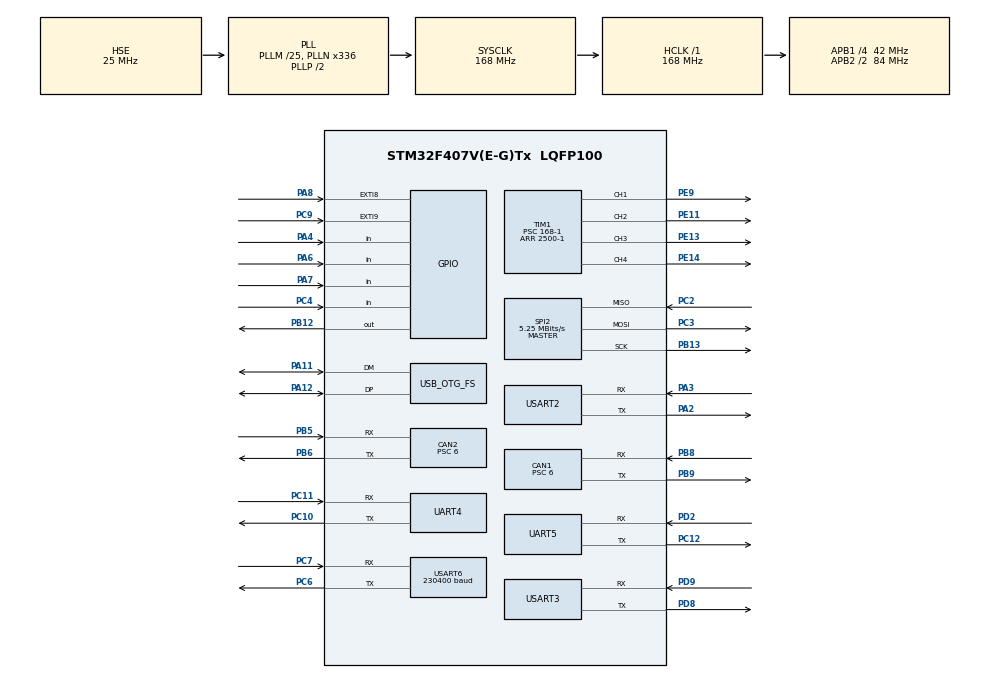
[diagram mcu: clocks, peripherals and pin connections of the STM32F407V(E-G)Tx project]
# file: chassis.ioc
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CAN1.BS1=CAN_BS1_3TQ
CAN1.BS2=CAN_BS2_3TQ
CAN1.CalculateBaudRate=1000000
CAN1.CalculateTimeBit=1000
CAN1.CalculateTimeQuantum=142.85714285714286
CAN1.Prescaler=6
CAN2.BS1=CAN_BS1_3TQ
CAN2.BS2=CAN_BS2_3TQ
CAN2.CalculateBaudRate=1000000
CAN2.CalculateTimeBit=1000
CAN2.CalculateTimeQuantum=142.85714285714286
CAN2.Mode=CAN_MODE_NORMAL
CAN2.Prescaler=6
Dma.Request0=UART4_RX
Dma.Request1=USART6_RX
Dma.Request2=USART2_RX
Dma.Request3=UART5_RX
Dma.Request4=UART4_TX
Dma.UART4_RX.0.Direction=DMA_PERIPH_TO_MEMORY
Dma.UART4_RX.0.FIFOMode=DMA_FIFOMODE_DISABLE
Dma.UART4_RX.0.Instance=DMA1_Stream2
Dma.UART4_RX.0.MemDataAlignment=DMA_MDATAALIGN_BYTE
Dma.UART4_RX.0.MemInc=DMA_MINC_ENABLE
Dma.UART4_RX.0.Mode=DMA_NORMAL
Dma.UART4_RX.0.PeriphDataAlignment=DMA_PDATAALIGN_BYTE
Dma.UART4_RX.0.PeriphInc=DMA_PINC_DISABLE
Dma.UART4_RX.0.Priority=DMA_PRIORITY_LOW
Dma.UART4_TX.4.Direction=DMA_MEMORY_TO_PERIPH
Dma.UART4_TX.4.FIFOMode=DMA_FIFOMODE_DISABLE
Dma.UART4_TX.4.Instance=DMA1_Stream4
Dma.UART4_TX.4.MemDataAlignment=DMA_MDATAALIGN_BYTE
Dma.UART4_TX.4.MemInc=DMA_MINC_ENABLE
Dma.UART4_TX.4.Mode=DMA_NORMAL
Dma.UART4_TX.4.PeriphDataAlignment=DMA_PDATAALIGN_BYTE
Dma.UART4_TX.4.PeriphInc=DMA_PINC_DISABLE
Dma.UART4_TX.4.Priority=DMA_PRIORITY_LOW
Dma.UART5_RX.3.Direction=DMA_PERIPH_TO_MEMORY
Dma.UART5_RX.3.FIFOMode=DMA_FIFOMODE_DISABLE
Dma.UART5_RX.3.Instance=DMA1_Stream0
Dma.UART5_RX.3.MemDataAlignment=DMA_MDATAALIGN_BYTE
Dma.UART5_RX.3.MemInc=DMA_MINC_ENABLE
Dma.UART5_RX.3.Mode=DMA_NORMAL
Dma.UART5_RX.3.PeriphDataAlignment=DMA_PDATAALIGN_BYTE
Dma.UART5_RX.3.PeriphInc=DMA_PINC_DISABLE
Dma.UART5_RX.3.Priority=DMA_PRIORITY_LOW
Dma.USART2_RX.2.Direction=DMA_PERIPH_TO_MEMORY
Dma.USART2_RX.2.FIFOMode=DMA_FIFOMODE_DISABLE
Dma.USART2_RX.2.Instance=DMA1_Stream5
Dma.USART2_RX.2.MemDataAlignment=DMA_MDATAALIGN_BYTE
Dma.USART2_RX.2.MemInc=DMA_MINC_ENABLE
Dma.USART2_RX.2.Mode=DMA_NORMAL
Dma.USART2_RX.2.PeriphDataAlignment=DMA_PDATAALIGN_BYTE
Dma.USART2_RX.2.PeriphInc=DMA_PINC_DISABLE
Dma.USART2_RX.2.Priority=DMA_PRIORITY_LOW
Dma.USART6_RX.1.Direction=DMA_PERIPH_TO_MEMORY
Dma.USART6_RX.1.FIFOMode=DMA_FIFOMODE_DISABLE
Dma.USART6_RX.1.Instance=DMA2_Stream1
Dma.USART6_RX.1.MemDataAlignment=DMA_MDATAALIGN_BYTE
Dma.USART6_RX.1.MemInc=DMA_MINC_ENABLE
Dma.USART6_RX.1.Mode=DMA_CIRCULAR
Dma.USART6_RX.1.PeriphDataAlignment=DMA_PDATAALIGN_BYTE
Dma.USART6_RX.1.PeriphInc=DMA_PINC_DISABLE
Dma.USART6_RX.1.Priority=DMA_PRIORITY_LOW
FREERTOS.INCLUDE_uxTaskGetStackHighWaterMark=1
FREERTOS.INCLUDE_vTaskDelayUntil=1
FREERTOS.Tasks01=defaultTask,0,128,StartDefaultTask,Default,NULL,Dynamic,NULL,NULL
FREERTOS.configUSE_TIMERS=1
Mcu.Family=STM32F4
Mcu.Name=STM32F407V(E-G)Tx
Mcu.Package=LQFP100
NVIC.CAN1_RX0_IRQn=true\:5\:0\:false\:false\:true\:true\:true\:true\:true
NVIC.CAN1_TX_IRQn=true\:5\:0\:false\:false\:true\:true\:true\:true\:true
NVIC.CAN2_RX1_IRQn=true\:5\:0\:false\:false\:true\:true\:true\:true\:true
NVIC.CAN2_TX_IRQn=true\:5\:0\:false\:false\:true\:true\:true\:true\:true
NVIC.DMA1_Stream0_IRQn=true\:5\:0\:false\:false\:true\:true\:false\:true\:true
NVIC.DMA1_Stream2_IRQn=true\:5\:0\:false\:false\:true\:true\:false\:true\:true
NVIC.DMA1_Stream4_IRQn=true\:5\:0\:false\:false\:true\:true\:false\:true\:true
NVIC.DMA1_Stream5_IRQn=true\:5\:0\:false\:false\:true\:true\:false\:true\:true
NVIC.DMA2_Stream1_IRQn=true\:5\:0\:false\:false\:true\:true\:false\:true\:true
NVIC.EXTI9_5_IRQn=true\:5\:0\:false\:false\:true\:true\:true\:true\:true
NVIC.OTG_FS_IRQn=true\:5\:0\:false\:false\:true\:true\:false\:true\:true
NVIC.PriorityGroup=NVIC_PRIORITYGROUP_4
NVIC.SPI2_IRQn=true\:5\:0\:false\:false\:true\:true\:true\:true\:true
NVIC.TIM7_IRQn=true\:5\:0\:false\:false\:true\:true\:true\:true\:true
NVIC.TIM8_TRG_COM_TIM14_IRQn=true\:15\:0\:false\:false\:true\:false\:true\:true\:true
NVIC.TimeBase=TIM8_TRG_COM_TIM14_IRQn
NVIC.TimeBaseIP=TIM14
NVIC.UART4_IRQn=true\:5\:0\:false\:false\:true\:true\:true\:true\:true
NVIC.UART5_IRQn=true\:5\:0\:false\:false\:true\:true\:true\:true\:true
NVIC.USART6_IRQn=true\:5\:0\:false\:false\:true\:true\:true\:true\:true
PA11.Mode=Device_Only
PA11.Signal=USB_OTG_FS_DM
PA12.Mode=Device_Only
PA12.Signal=USB_OTG_FS_DP
PA13.Mode=Serial_Wire
PA13.Signal=SYS_JTMS-SWDIO
PA14.Mode=Serial_Wire
PA14.Signal=SYS_JTCK-SWCLK
PA2.Mode=Asynchronous
PA2.Signal=USART2_TX
PA3.Mode=Asynchronous
PA3.Signal=USART2_RX
PA4.GPIO_PuPd=GPIO_PULLDOWN
PA4.Signal=GPIO_Input
PA6.GPIO_PuPd=GPIO_PULLDOWN
PA6.Signal=GPIO_Input
PA7.GPIO_PuPd=GPIO_PULLDOWN
PA7.Signal=GPIO_Input
PA8.GPIO_ModeDefaultEXTI=GPIO_MODE_IT_RISING_FALLING
PA8.GPIO_PuPd=GPIO_PULLDOWN
PA8.Signal=GPXTI8
PB12.GPIO_Speed=GPIO_SPEED_FREQ_HIGH
PB12.PinState=GPIO_PIN_SET
PB12.Signal=GPIO_Output
PB13.Mode=Full_Duplex_Master
PB13.Signal=SPI2_SCK
PB5.Mode=CAN_Activate
PB5.Signal=CAN2_RX
PB6.Mode=CAN_Activate
PB6.Signal=CAN2_TX
PB8.Mode=CAN_Activate
PB8.Signal=CAN1_RX
PB9.Mode=CAN_Activate
PB9.Signal=CAN1_TX
PC10.Mode=Asynchronous
PC10.Signal=UART4_TX
PC11.Mode=Asynchronous
PC11.Signal=UART4_RX
PC12.Mode=Asynchronous
PC12.Signal=UART5_TX
PC2.Mode=Full_Duplex_Master
PC2.Signal=SPI2_MISO
PC3.Mode=Full_Duplex_Master
PC3.Signal=SPI2_MOSI
PC4.GPIO_PuPd=GPIO_PULLDOWN
PC4.Signal=GPIO_Input
PC6.Mode=Asynchronous
PC6.Signal=USART6_TX
PC7.Mode=Asynchronous
PC7.Signal=USART6_RX
PC9.GPIO_ModeDefaultEXTI=GPIO_MODE_IT_RISING_FALLING
PC9.GPIO_PuPd=GPIO_PULLDOWN
PC9.Signal=GPXTI9
PD2.Mode=Asynchronous
PD2.Signal=UART5_RX
PD8.Mode=Asynchronous
PD8.Signal=USART3_TX
PD9.Mode=Asynchronous
PD9.Signal=USART3_RX
PE11.Signal=S_TIM1_CH2
PE13.Signal=S_TIM1_CH3
PE14.Signal=S_TIM1_CH4
PE9.Signal=S_TIM1_CH1
PH0-OSC_IN.Mode=HSE-External-Oscillator
PH0-OSC_IN.Signal=RCC_OSC_IN
PH1-OSC_OUT.Mode=HSE-External-Oscillator
PH1-OSC_OUT.Signal=RCC_OSC_OUT
ProjectManager.HeapSize=0x200
ProjectManager.StackSize=0x400
ProjectManager.TargetToolchain=MDK-ARM V5
RCC.48MHZClocksFreq_Value=48000000
RCC.AHBFreq_Value=168000000
RCC.APB1CLKDivider=RCC_HCLK_DIV4
RCC.APB1Freq_Value=42000000
RCC.APB1TimFreq_Value=84000000
RCC.APB2CLKDivider=RCC_HCLK_DIV2
RCC.APB2Freq_Value=84000000
RCC.APB2TimFreq_Value=168000000
RCC.CortexFreq_Value=168000000
RCC.HCLKFreq_Value=168000000
RCC.HSE_VALUE=25000000
RCC.HSI_VALUE=16000000
RCC.LSE_VALUE=32768
RCC.PLLM=25
RCC.PLLN=336
RCC.PLLQ=7
RCC.SYSCLKFreq_VALUE=168000000
RCC.SYSCLKSource=RCC_SYSCLKSOURCE_PLLCLK
RCC.VCOOutputFreq_Value=336000000
SH.S_TIM1_CH1.0=TIM1_CH1,PWM Generation1 CH1
SH.S_TIM1_CH2.0=TIM1_CH2,PWM Generation2 CH2
SH.S_TIM1_CH3.0=TIM1_CH3,PWM Generation3 CH3
SH.S_TIM1_CH4.0=TIM1_CH4,PWM Generation4 CH4
SPI2.BaudRatePrescaler=SPI_BAUDRATEPRESCALER_8
SPI2.CalculateBaudRate=5.25 MBits/s
SPI2.DataSize=SPI_DATASIZE_16BIT
SPI2.Direction=SPI_DIRECTION_2LINES
SPI2.Mode=SPI_MODE_MASTER
SPI2.VirtualType=VM_MASTER
STMicroelectronics.X-CUBE-ALGOBUILD.1.4.0.LibraryCcDSPOoLibraryJjDSPOoLibrary=true
TIM1.Channel-PWM\ Generation1\ CH1=TIM_CHANNEL_1
TIM1.Channel-PWM\ Generation2\ CH2=TIM_CHANNEL_2
TIM1.Channel-PWM\ Generation3\ CH3=TIM_CHANNEL_3
TIM1.Channel-PWM\ Generation4\ CH4=TIM_CHANNEL_4
TIM1.Period=2500-1
TIM1.Prescaler=168-1
TIM7.Period=40-1
TIM7.Prescaler=8400-1
UART4.VirtualMode=Asynchronous
UART5.VirtualMode=Asynchronous
USART2.VirtualMode=VM_ASYNC
USART3.VirtualMode=VM_ASYNC
USART6.BaudRate=230400
USART6.VirtualMode=VM_ASYNC
USB_DEVICE.CLASS_NAME_FS=CDC
USB_DEVICE.VirtualMode-CDC_FS=Cdc
USB_DEVICE.VirtualModeFS=Cdc_FS
USB_OTG_FS.VirtualMode=Device_Only
VP_FREERTOS_VS_CMSIS_V1.Mode=CMSIS_V1
VP_STMicroelectronics.X-CUBE-ALGOBUILD_VS_DSPOoLibraryJjLibrary_1.4.0_1.4.0.Mode=DSPOoLibraryJjLibrary
VP_SYS_VS_tim14.Mode=TIM14
VP_TIM1_VS_ClockSourceINT.Mode=Internal
VP_TIM7_VS_ClockSourceINT.Mode=Enable_Timer
VP_USB_DEVICE_VS_USB_DEVICE_CDC_FS.Mode=CDC_FS
board=custom

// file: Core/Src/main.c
/* USER CODE BEGIN Header */
/**
  ******************************************************************************
  * @file           : main.c
  * @brief          : Main program body
  ******************************************************************************
  * @attention
  *
  * Copyright (c) 2024 STMicroelectronics.
  * All rights reserved.
  *
  * This software is licensed under terms that can be found in the LICENSE file
  * in the root directory of this software component.
  * If no LICENSE file comes with this software, it is provided AS-IS.
  *
  ******************************************************************************
  */
/* USER CODE END Header */
#include "main.h"
#include "cmsis_os.h"
#include "can.h"
#include "dma.h"
#include "spi.h"
#include "tim.h"
#include "usart.h"
#include "usb_device.h"
#include "gpio.h"

/* USER CODE BEGIN Includes */
#include "RMLibHead.h"
#include "CANDRive.h"
#include "encoder.h"
/* USER CODE END Includes */

/* USER CODE BEGIN PD */
#define HAL_CAN_MODULE_ENABLED
/* USER CODE END PD */

/* USER CODE BEGIN PM */
extern CAN_HandleTypeDef hcan2;
/* USER CODE END PM */

/* USER CODE BEGIN PV */
extern Encoder_HandleTypeDef encoderA;
extern Encoder_HandleTypeDef encoderB;
extern Encoder_HandleTypeDef encoderC;
extern Encoder_HandleTypeDef encoderD;
/* USER CODE END PV */

void SystemClock_Config(void);
void MX_FREERTOS_Init(void);

int main(void)
{

  /* MCU Configuration--------------------------------------------------------*/

  /* Reset of all peripherals, Initializes the Flash interface and the Systick. */
  HAL_Init();

  /* Configure the system clock */
  SystemClock_Config();

  /* Initialize all configured peripherals */
  MX_GPIO_Init();
  MX_DMA_Init();
  MX_CAN1_Init();
  MX_CAN2_Init();
  MX_UART4_Init();
  MX_USART3_UART_Init();
  MX_USART6_UART_Init();
  MX_USART2_UART_Init();
  MX_TIM1_Init();
  MX_UART5_Init();
  MX_TIM7_Init();
  MX_SPI2_Init();
  /* USER CODE BEGIN 2 */
	HAL_TIM_PWM_Start(&htim1,TIM_CHANNEL_1);
	HAL_TIM_PWM_Start(&htim1,TIM_CHANNEL_2);
	HAL_TIM_PWM_Start(&htim1,TIM_CHANNEL_3);
	HAL_TIM_PWM_Start(&htim1,TIM_CHANNEL_4);
  HAL_TIM_Base_Start_IT(&htim7);
  /* USER CODE END 2 */

  /* Call init function for freertos objects (in cmsis_os2.c) */
  MX_FREERTOS_Init();

  /* Start scheduler */
  osKernelStart();

  /* We should never get here as control is now taken by the scheduler */

  /* Infinite loop */
  while (1)
  {

  }
}

void SystemClock_Config(void)
{
  RCC_OscInitTypeDef RCC_OscInitStruct = {0};
  RCC_ClkInitTypeDef RCC_ClkInitStruct = {0};

  /** Configure the main internal regulator output voltage
  */
  __HAL_RCC_PWR_CLK_ENABLE();
  __HAL_PWR_VOLTAGESCALING_CONFIG(PWR_REGULATOR_VOLTAGE_SCALE1);

  /** Initializes the RCC Oscillators according to the specified parameters
  * in the RCC_OscInitTypeDef structure.
  */
  RCC_OscInitStruct.OscillatorType = RCC_OSCILLATORTYPE_HSE;
  RCC_OscInitStruct.HSEState = RCC_HSE_ON;
  RCC_OscInitStruct.PLL.PLLState = RCC_PLL_ON;
  RCC_OscInitStruct.PLL.PLLSource = RCC_PLLSOURCE_HSE;
  RCC_OscInitStruct.PLL.PLLM = 25;
  RCC_OscInitStruct.PLL.PLLN = 336;
  RCC_OscInitStruct.PLL.PLLP = RCC_PLLP_DIV2;
  RCC_OscInitStruct.PLL.PLLQ = 7;
  if (HAL_RCC_OscConfig(&RCC_OscInitStruct) != HAL_OK)
  {
    Error_Handler();
  }

  /** Initializes the CPU, AHB and APB buses clocks
  */
  RCC_ClkInitStruct.ClockType = RCC_CLOCKTYPE_HCLK|RCC_CLOCKTYPE_SYSCLK
                              |RCC_CLOCKTYPE_PCLK1|RCC_CLOCKTYPE_PCLK2;
  RCC_ClkInitStruct.SYSCLKSource = RCC_SYSCLKSOURCE_PLLCLK;
  RCC_ClkInitStruct.AHBCLKDivider = RCC_SYSCLK_DIV1;
  RCC_ClkInitStruct.APB1CLKDivider = RCC_HCLK_DIV4;
  RCC_ClkInitStruct.APB2CLKDivider = RCC_HCLK_DIV2;

  if (HAL_RCC_ClockConfig(&RCC_ClkInitStruct, FLASH_LATENCY_5) != HAL_OK)
  {
    Error_Handler();
  }
}

void HAL_TIM_PeriodElapsedCallback(TIM_HandleTypeDef *htim)
{
  if (htim->Instance == TIM14)
  {
    HAL_IncTick();
  }
}

void Error_Handler(void)
{
  __disable_irq();
  while (1)
  {
  }
}

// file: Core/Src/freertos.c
/* USER CODE BEGIN Header */
/**
  ******************************************************************************
  * File Name          : freertos.c
  * Description        : Code for freertos applications
  ******************************************************************************
  * @attention
  *
  * Copyright (c) 2024 STMicroelectronics.
  * All rights reserved.
  *
  * This software is licensed under terms that can be found in the LICENSE file
  * in the root directory of this software component.
  * If no LICENSE file comes with this software, it is provided AS-IS.
  *
  ******************************************************************************
  */
/* USER CODE END Header */

#include "FreeRTOS.h"
#include "task.h"
#include "main.h"
#include "cmsis_os.h"

/* USER CODE BEGIN Includes */
#include "Task_Init.h"
#include "semphr.h"
/* USER CODE END Includes */

/* USER CODE BEGIN PD */
SemaphoreHandle_t remote_semaphore;
SemaphoreHandle_t reset_semaphore;

extern TaskHandle_t Wheel_Handles[4];
extern TaskHandle_t Move_Task_Handle;
extern TaskHandle_t Can_Send_Handle;
extern TaskHandle_t task_handle;
/* USER CODE END PD */

/* USER CODE BEGIN Variables */
//TaskHandle_t RemoteControlTaskHandle;
//TaskHandle_t ChassisControlTaskHandle;
/* USER CODE END Variables */
osThreadId defaultTaskHandle;

void StartDefaultTask(void const * argument);

extern void MX_USB_DEVICE_Init(void);
void MX_FREERTOS_Init(void); /* (MISRA C 2004 rule 8.1) */

/* GetIdleTaskMemory prototype (linked to static allocation support) */
void vApplicationGetIdleTaskMemory( StaticTask_t **ppxIdleTaskTCBBuffer, StackType_t **ppxIdleTaskStackBuffer, uint32_t *pulIdleTaskStackSize );

/* GetTimerTaskMemory prototype (linked to static allocation support) */
void vApplicationGetTimerTaskMemory( StaticTask_t **ppxTimerTaskTCBBuffer, StackType_t **ppxTimerTaskStackBuffer, uint32_t *pulTimerTaskStackSize );

/* USER CODE BEGIN GET_IDLE_TASK_MEMORY */
static StaticTask_t xIdleTaskTCBBuffer;
static StackType_t xIdleStack[configMINIMAL_STACK_SIZE];

void vApplicationGetIdleTaskMemory( StaticTask_t **ppxIdleTaskTCBBuffer, StackType_t **ppxIdleTaskStackBuffer, uint32_t *pulIdleTaskStackSize )
{
  *ppxIdleTaskTCBBuffer = &xIdleTaskTCBBuffer;
  *ppxIdleTaskStackBuffer = &xIdleStack[0];
  *pulIdleTaskStackSize = configMINIMAL_STACK_SIZE;
  /* place for user code */
}
/* USER CODE END GET_IDLE_TASK_MEMORY */

/* USER CODE BEGIN GET_TIMER_TASK_MEMORY */
static StaticTask_t xTimerTaskTCBBuffer;
static StackType_t xTimerStack[configTIMER_TASK_STACK_DEPTH];

void vApplicationGetTimerTaskMemory( StaticTask_t **ppxTimerTaskTCBBuffer, StackType_t **ppxTimerTaskStackBuffer, uint32_t *pulTimerTaskStackSize )
{
  *ppxTimerTaskTCBBuffer = &xTimerTaskTCBBuffer;
  *ppxTimerTaskStackBuffer = &xTimerStack[0];
  *pulTimerTaskStackSize = configTIMER_TASK_STACK_DEPTH;
  /* place for user code */
}
/* USER CODE END GET_TIMER_TASK_MEMORY */

void MX_FREERTOS_Init(void) {

  /* USER CODE BEGIN RTOS_QUEUES */
  /* add queues, ... */
  remote_semaphore=xSemaphoreCreateBinary();
	reset_semaphore =xSemaphoreCreateBinary();
  /* USER CODE END RTOS_QUEUES */

  /* Create the thread(s) */
  /* definition and creation of defaultTask */
  osThreadDef(defaultTask, StartDefaultTask, osPriorityNormal, 0, 128);
  defaultTaskHandle = osThreadCreate(osThread(defaultTask), NULL);

}

uint32_t _stack[7];
void StartDefaultTask(void const * argument)
{
  /* init code for USB_DEVICE */
  MX_USB_DEVICE_Init();
  /* USER CODE BEGIN StartDefaultTask */
  /* Infinite loop */
	Task_Init();

  for(;;)
  {
		_stack[0]=uxTaskGetStackHighWaterMark(Wheel_Handles[0]);
		_stack[1]=uxTaskGetStackHighWaterMark(Wheel_Handles[1]);
		_stack[2]=uxTaskGetStackHighWaterMark(Wheel_Handles[2]);
		_stack[3]=uxTaskGetStackHighWaterMark(Wheel_Handles[3]);
		_stack[4]=uxTaskGetStackHighWaterMark(Move_Task_Handle);
		_stack[5]=uxTaskGetStackHighWaterMark(Can_Send_Handle);
		_stack[6]=uxTaskGetStackHighWaterMark(task_handle);
    osDelay(50);
  }
  /* USER CODE END StartDefaultTask */
}
